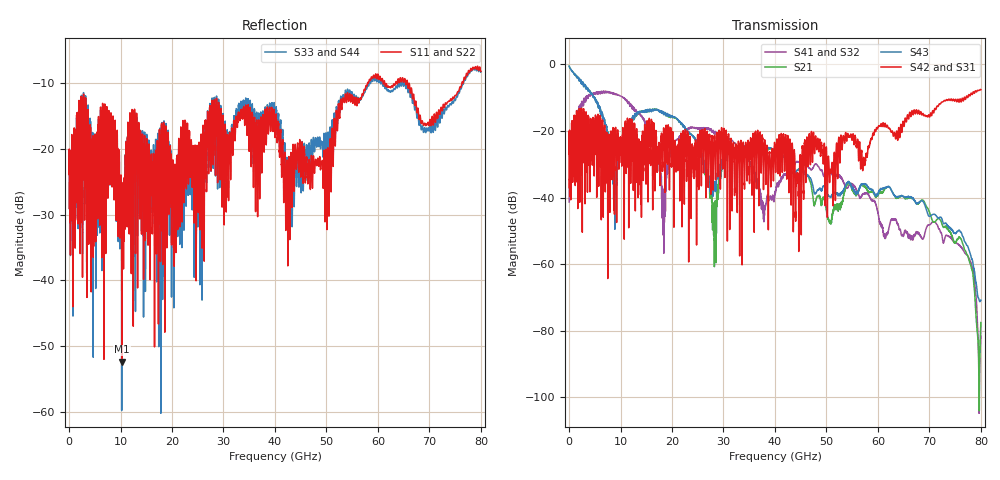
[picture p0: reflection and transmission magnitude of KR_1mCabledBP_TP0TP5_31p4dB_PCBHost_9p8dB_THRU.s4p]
!! Reference: shanbhag_3dj_02_2305.pdf
!! CHANNEL DESCRIPTION: TP0_TP5 KR Channel using 1meter Cabled BP, PCB Host
!! MODEL DESCRIPTION: s4p, THRU
!! CABLE DESCRIPTION: 1meter 26AWG Cable
!! MODEL STATUS: Developmental
!! PORT DEFINITIONS:
!! Port  1  ----->  Side A  Side B  <-----  Port  2
!! Port  3  ----->  Side A  Side B  <-----  Port  4
# HZ S MA R 50.000000
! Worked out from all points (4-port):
!   8000 points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, 10 MHz to 80 GHz, reference 50 ohm
!   strongest paths, dB at 10 MHz, 20.01 GHz, 40.01 GHz, 60.01 GHz, 80 GHz:
!     S42: -26.8, -30.2, -24.9, -18.9, -7.6
!     S31: -26.8, -30.2, -24.9, -18.9, -7.6
!     S43: -0.5, -15.4, -26.4, -38.9, -70.8
!     S21: -0.5, -15.5, -26.3, -39.3, -77.6
!     S41: -41.3, -24.5, -38.8, -44.7, -81.7
!     S32: -41.3, -24.5, -38.8, -44.7, -81.7
!   lowest |S11| = -52.3 dB at 10.28 GHz (marker M1), VSWR 1.00, Z = 50.2 + j0.136 ohm
!   |S11| at or under -10 dB: start of sweep to 57.99 GHz; 61.34 GHz to 63.41 GHz (2.069 GHz wide, 3.32 % of centre); 65.75 GHz to 76.28 GHz (10.53 GHz wide, 14.8 % of centre) (the widest 3 of 7)
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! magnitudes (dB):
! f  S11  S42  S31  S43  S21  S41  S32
! 10 MHz  -23.8  -26.8  -26.8  -0.5  -0.5  -41.3  -41.3
! 10.28 GHz  -52.3  -27.0  -27.0  -23.2  -22.7  -9.7  -9.7
! 18.35 GHz  -16.1  -19.6  -19.6  -14.9  -15.0  -39.4  -39.4
! 28.24 GHz  -12.7  -21.7  -21.7  -35.8  -57.6  -20.8  -20.8
! 33.39 GHz  -14.3  -23.0  -23.0  -24.6  -24.4  -25.9  -25.9
! 68.71 GHz  -16.0  -14.7  -14.7  -41.1  -40.8  -52.4  -52.4
! 80 GHz  -8.2  -7.6  -7.6  -70.8  -77.6  -81.7  -81.7
